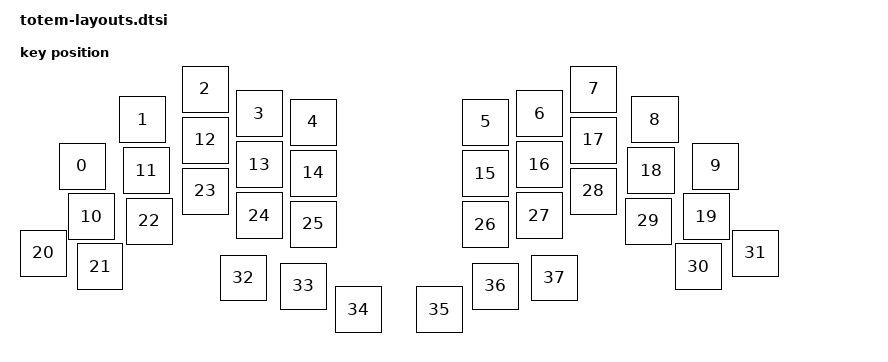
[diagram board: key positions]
#include <physical_layouts.dtsi>

/ {
totem_layout: totem_layout{
    compatible = "zmk,physical-layout";
    display-name = "TOTEM Keyboard Layout";
    transform = <&default_transform>;
        keys
            // Row 0: Q W E R T | Y U I O P
            = <&key_physical_attrs 100 100   266   480   0   0   0>  // Q
            , <&key_physical_attrs 100 100   387   387   0   0   0>  // W
            , <&key_physical_attrs 100 100   512   326   0   0   0>  // E
            , <&key_physical_attrs 100 100   620   375   0   0   0>  // R
            , <&key_physical_attrs 100 100   728   392   0   0   0>  // T
            , <&key_physical_attrs 100 100  1073   392   0   0   0>  // Y (using P's coord)
            , <&key_physical_attrs 100 100  1181   375   0   0   0>  // U (using O's coord)
            , <&key_physical_attrs 100 100  1289   326   0   0   0>  // I (stays)
            , <&key_physical_attrs 100 100  1412   387   0   0   0>  // O (using U's coord)
            , <&key_physical_attrs 100 100  1533   480   0   0   0>  // P (using Y's coord)
            
            // Row 1: A S D F G | H J K L ;
            , <&key_physical_attrs 100 100   284   581   0   0   0>  // A
            , <&key_physical_attrs 100 100   395   489   0   0   0>  // S
            , <&key_physical_attrs 100 100   512   428   0   0   0>  // D
            , <&key_physical_attrs 100 100   620   477   0   0   0>  // F
            , <&key_physical_attrs 100 100   728   494   0   0   0>  // G
            , <&key_physical_attrs 100 100  1073   495   0   0   0>  // H (using ;'s coord)
            , <&key_physical_attrs 100 100  1181   477   0   0   0>  // J (using L's coord)
            , <&key_physical_attrs 100 100  1289   428   0   0   0>  // K (stays)
            , <&key_physical_attrs 100 100  1404   489   0   0   0>  // L (using J's coord)
            , <&key_physical_attrs 100 100  1515   581   0   0   0>  // ; (using H's coord)
            
            // Row 2: [ Z X C V B | N M , . / ]
            , <&key_physical_attrs 100 100   188   654   0   0   0>  // [
            , <&key_physical_attrs 100 100   302   681   0   0   0>  // Z
            , <&key_physical_attrs 100 100   402   590   0   0   0>  // X
            , <&key_physical_attrs 100 100   512   530   0   0   0>  // C
            , <&key_physical_attrs 100 100   620   579   0   0   0>  // V
            , <&key_physical_attrs 100 100   728   596   0   0   0>  // B
            , <&key_physical_attrs 100 100  1073   597   0   0   0>  // N (using ]'s coord)
            , <&key_physical_attrs 100 100  1181   579   0   0   0>  // M (using /'s coord)
            , <&key_physical_attrs 100 100  1289   530   0   0   0>  // , (using .'s coord)
            , <&key_physical_attrs 100 100  1398   590   0   0   0>  // . (using ,'s coord)
            , <&key_physical_attrs 100 100  1499   681   0   0   0>  // / (using M's coord)
            , <&key_physical_attrs 100 100  1613   654   0   0   0>  // ] (using N's coord)
            
            // Row 3: ESC BSPC TAB | ENT SPC LSHFT
            , <&key_physical_attrs 100 100   588   704   0   0   0>  // ESC
            , <&key_physical_attrs 100 100   708   720   0   0   0>  // BSPC
            , <&key_physical_attrs 100 100   819   767   0   0   0>  // TAB
            , <&key_physical_attrs 100 100   981   767   0   0   0>  // ENT (using LSHFT's coord)
            , <&key_physical_attrs 100 100  1092   720   0   0   0>  // SPC (stays)
            , <&key_physical_attrs 100 100  1211   704   0   0   0>  // LSHFT (using ENT's coord)
            ;
    };
};
